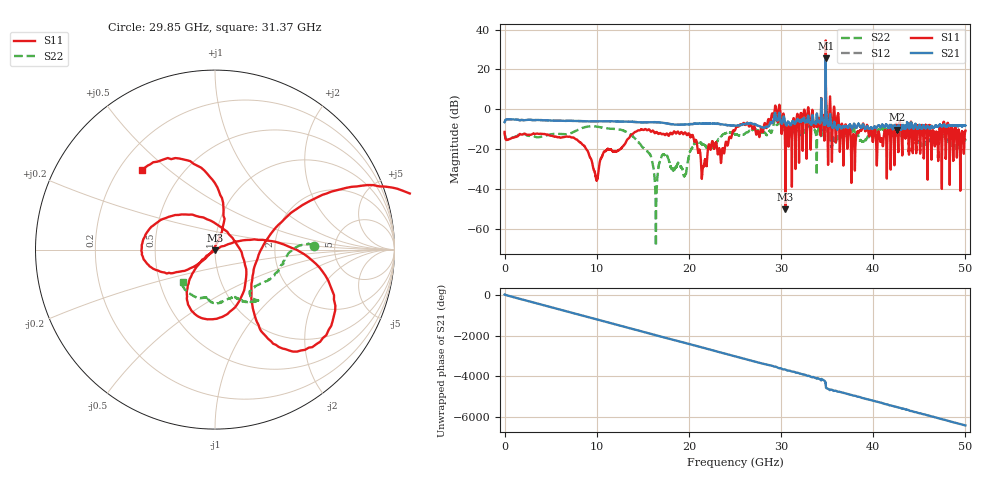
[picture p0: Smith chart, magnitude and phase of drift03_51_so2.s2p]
!Created with skrf (http://scikit-rf.org).
# Hz S RI R 50.0
!freq ReS11 ImS11 ReS21 ImS21 ReS12 ImS12 ReS22 ImS22
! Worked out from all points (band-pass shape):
!   10001 points, 300 kHz to 50 GHz, reference 50 ohm
!   highest |S21| = 25.57 dB at 34.85 GHz (marker M1); lowest = -10.3 dB at 42.55 GHz (marker M2)
!   |S21| within 3 dB of the highest: 34.8432 GHz to 34.84611 GHz (2.909 MHz wide, 0.00835 % of centre)
!   lowest |S11| = -50.2 dB at 30.47 GHz (marker M3), VSWR 1.01, Z = 50 - j0.309 ohm
!   |S11| at or under -10 dB: start of sweep to 15.23 GHz; 15.31 GHz to 25.05 GHz (9.737 GHz wide, 48.2 % of centre); 40.22 GHz to 41.62 GHz (1.395 GHz wide, 3.41 % of centre) (the widest 3 of 52)
!   |S22| runs from -68.8 to 16.4 dB; largest |S21 - S12| = 2.6
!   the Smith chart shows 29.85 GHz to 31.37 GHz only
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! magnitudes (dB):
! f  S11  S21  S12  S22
! 300 kHz  -11.4  -6.5  -6.4  -11.4
! 8.335 GHz  -17.1  -6.0  -6.0  -9.6
! 9.955 GHz  -35.6  -6.1  -6.1  -8.7
! 10.99 GHz  -20.8  -6.0  -6.0  -9.5
! 13.97 GHz  -12.2  -6.3  -6.3  -13.9
! 16.36 GHz  -11.9  -6.5  -6.5  -42.3
! 16.67 GHz  -12.4  -6.6  -6.5  -29.9
! 17.34 GHz  -12.7  -6.9  -6.9  -22.9
! 19.55 GHz  -11.7  -7.7  -7.7  -33.2
! 20.21 GHz  -14.0  -7.4  -7.5  -20.4
! 21.55 GHz  -28.7  -7.2  -7.2  -17.8
! 25 GHz  -10.6  -8.2  -8.2  -12.6
! 29.6 GHz  -5.5  -5.7  -5.9  -7.8
! 30.47 GHz  -50.2  -7.2  -7.2  -9.1
! 33.34 GHz  -3.8  -6.8  -6.7  -9.3
! 34.85 GHz  34.5  25.6  25.3  16.4
! 35.63 GHz  -5.8  -9.3  -9.3  -15.8
! 37.83 GHz  -12.7  -8.3  -8.4  -9.9
! 38.81 GHz  -8.9  -8.2  -8.2  -16.1
! 41.67 GHz  -9.3  -9.4  -9.3  -11.3
! 42.55 GHz  -8.5  -10.3  -10.3  -13.2
! 50 GHz  -10.7  -8.2  -8.2  -15.5
